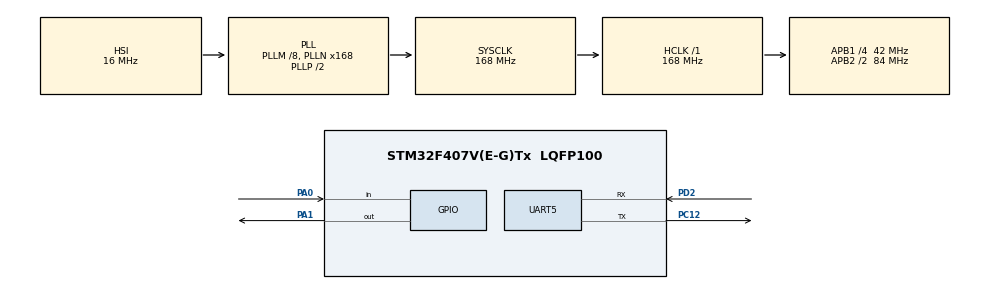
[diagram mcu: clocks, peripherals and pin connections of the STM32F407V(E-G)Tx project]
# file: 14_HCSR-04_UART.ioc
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Mcu.Family=STM32F4
Mcu.Name=STM32F407V(E-G)Tx
Mcu.Package=LQFP100
NVIC.PriorityGroup=NVIC_PRIORITYGROUP_4
PA0-WKUP.Signal=GPIO_Input
PA1.Signal=GPIO_Output
PA13.Mode=Serial_Wire
PA13.Signal=SYS_JTMS-SWDIO
PA14.Mode=Serial_Wire
PA14.Signal=SYS_JTCK-SWCLK
PC12.Mode=Asynchronous
PC12.Signal=UART5_TX
PD2.Mode=Asynchronous
PD2.Signal=UART5_RX
PH0-OSC_IN.Mode=HSE-External-Oscillator
PH0-OSC_IN.Signal=RCC_OSC_IN
PH1-OSC_OUT.Mode=HSE-External-Oscillator
PH1-OSC_OUT.Signal=RCC_OSC_OUT
ProjectManager.HeapSize=0x200
ProjectManager.StackSize=0x400
ProjectManager.TargetToolchain=STM32CubeIDE
RCC.48MHZClocksFreq_Value=84000000
RCC.AHBFreq_Value=168000000
RCC.APB1CLKDivider=RCC_HCLK_DIV4
RCC.APB1Freq_Value=42000000
RCC.APB1TimFreq_Value=84000000
RCC.APB2CLKDivider=RCC_HCLK_DIV2
RCC.APB2Freq_Value=84000000
RCC.APB2TimFreq_Value=168000000
RCC.CortexFreq_Value=168000000
RCC.HCLKFreq_Value=168000000
RCC.HSE_VALUE=25000000
RCC.HSI_VALUE=16000000
RCC.LSE_VALUE=32768
RCC.PLLM=8
RCC.PLLN=168
RCC.SYSCLKFreq_VALUE=168000000
RCC.SYSCLKSource=RCC_SYSCLKSOURCE_PLLCLK
RCC.VCOOutputFreq_Value=336000000
UART5.VirtualMode=Asynchronous
board=custom

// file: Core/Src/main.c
/* USER CODE BEGIN Header */
/**
  ******************************************************************************
  * @file           : main.c
  * @brief          : Main program body
  ******************************************************************************
  * @attention
  *
  * Copyright (c) 2024 STMicroelectronics.
  * All rights reserved.
  *
  * This software is licensed under terms that can be found in the LICENSE file
  * in the root directory of this software component.
  * If no LICENSE file comes with this software, it is provided AS-IS.
  *
  ******************************************************************************
  */
/* USER CODE END Header */
#include "main.h"

/* USER CODE BEGIN Includes */
#include<stdio.h>
#include<string.h>
#include "dwt_stm32_delay.h"
#include "string.h"

/* USER CODE END Includes */

UART_HandleTypeDef huart5;

/* USER CODE BEGIN PV */
uint32_t time;
uint8_t distance;
uint32_t flash_address = 0x08040000;
uint8_t readdata = 0;
/* USER CODE END PV */

void SystemClock_Config(void);
static void MX_GPIO_Init(void);
static void MX_UART5_Init(void);

/* USER CODE BEGIN 0 */
uint32_t Read_HCSR04()
{
	uint32_t local_time = 0;
	HAL_GPIO_WritePin(GPIOA, GPIO_PIN_1, GPIO_PIN_SET);
	DWT_Delay_us(10);
	HAL_GPIO_WritePin(GPIOA, GPIO_PIN_1, GPIO_PIN_RESET);	// pull the trig pin low

	while(!HAL_GPIO_ReadPin(GPIOA, GPIO_PIN_0));
	while(HAL_GPIO_ReadPin(GPIOA, GPIO_PIN_0))
	{
		local_time++;
		DWT_Delay_us(1);
	}
	return local_time;
}

void flash_write_read()
{
	 HAL_FLASH_Unlock();
	 FLASH_Erase_Sector(FLASH_SECTOR_6, FLASH_VOLTAGE_RANGE_3);
	 HAL_FLASH_Program(FLASH_TYPEPROGRAM_BYTE, flash_address, distance);
	 HAL_FLASH_Lock();
	 readdata = *(uint8_t *)(flash_address);
}
/* USER CODE END 0 */

int main(void)
{

  /* MCU Configuration--------------------------------------------------------*/

  /* Reset of all peripherals, Initializes the Flash interface and the Systick. */
  HAL_Init();

  /* Configure the system clock */
  SystemClock_Config();

  /* Initialize all configured peripherals */
  MX_GPIO_Init();
  MX_UART5_Init();
  /* USER CODE BEGIN 2 */
  DWT_Delay_Init();

  /* USER CODE END 2 */

  /* Infinite loop */
  while (1)
  {

    /* USER CODE BEGIN 3 */
	  time = Read_HCSR04();
	  distance = time * 0.034 / 2;
	  flash_write_read();
	  HAL_UART_Transmit(&huart5, &readdata, sizeof(readdata), HAL_MAX_DELAY);
  }
  /* USER CODE END 3 */
}

void SystemClock_Config(void)
{
  RCC_OscInitTypeDef RCC_OscInitStruct = {0};
  RCC_ClkInitTypeDef RCC_ClkInitStruct = {0};

  /** Configure the main internal regulator output voltage
  */
  __HAL_RCC_PWR_CLK_ENABLE();
  __HAL_PWR_VOLTAGESCALING_CONFIG(PWR_REGULATOR_VOLTAGE_SCALE1);

  /** Initializes the RCC Oscillators according to the specified parameters
  * in the RCC_OscInitTypeDef structure.
  */
  RCC_OscInitStruct.OscillatorType = RCC_OSCILLATORTYPE_HSI;
  RCC_OscInitStruct.HSIState = RCC_HSI_ON;
  RCC_OscInitStruct.HSICalibrationValue = RCC_HSICALIBRATION_DEFAULT;
  RCC_OscInitStruct.PLL.PLLState = RCC_PLL_ON;
  RCC_OscInitStruct.PLL.PLLSource = RCC_PLLSOURCE_HSI;
  RCC_OscInitStruct.PLL.PLLM = 8;
  RCC_OscInitStruct.PLL.PLLN = 168;
  RCC_OscInitStruct.PLL.PLLP = RCC_PLLP_DIV2;
  RCC_OscInitStruct.PLL.PLLQ = 4;
  if (HAL_RCC_OscConfig(&RCC_OscInitStruct) != HAL_OK)
  {
    Error_Handler();
  }

  /** Initializes the CPU, AHB and APB buses clocks
  */
  RCC_ClkInitStruct.ClockType = RCC_CLOCKTYPE_HCLK|RCC_CLOCKTYPE_SYSCLK
                              |RCC_CLOCKTYPE_PCLK1|RCC_CLOCKTYPE_PCLK2;
  RCC_ClkInitStruct.SYSCLKSource = RCC_SYSCLKSOURCE_PLLCLK;
  RCC_ClkInitStruct.AHBCLKDivider = RCC_SYSCLK_DIV1;
  RCC_ClkInitStruct.APB1CLKDivider = RCC_HCLK_DIV4;
  RCC_ClkInitStruct.APB2CLKDivider = RCC_HCLK_DIV2;

  if (HAL_RCC_ClockConfig(&RCC_ClkInitStruct, FLASH_LATENCY_5) != HAL_OK)
  {
    Error_Handler();
  }
}

static void MX_UART5_Init(void)
{

  huart5.Instance = UART5;
  huart5.Init.BaudRate = 115200;
  huart5.Init.WordLength = UART_WORDLENGTH_8B;
  huart5.Init.StopBits = UART_STOPBITS_1;
  huart5.Init.Parity = UART_PARITY_NONE;
  huart5.Init.Mode = UART_MODE_TX_RX;
  huart5.Init.HwFlowCtl = UART_HWCONTROL_NONE;
  huart5.Init.OverSampling = UART_OVERSAMPLING_16;
  if (HAL_UART_Init(&huart5) != HAL_OK)
  {
    Error_Handler();
  }

}

static void MX_GPIO_Init(void)
{
  GPIO_InitTypeDef GPIO_InitStruct = {0};

  /* GPIO Ports Clock Enable */
  __HAL_RCC_GPIOH_CLK_ENABLE();
  __HAL_RCC_GPIOA_CLK_ENABLE();
  __HAL_RCC_GPIOC_CLK_ENABLE();
  __HAL_RCC_GPIOD_CLK_ENABLE();

  /*Configure GPIO pin Output Level */
  HAL_GPIO_WritePin(GPIOA, GPIO_PIN_1, GPIO_PIN_RESET);

  /*Configure GPIO pin : PA0 */
  GPIO_InitStruct.Pin = GPIO_PIN_0;
  GPIO_InitStruct.Mode = GPIO_MODE_INPUT;
  GPIO_InitStruct.Pull = GPIO_NOPULL;
  HAL_GPIO_Init(GPIOA, &GPIO_InitStruct);

  /*Configure GPIO pin : PA1 */
  GPIO_InitStruct.Pin = GPIO_PIN_1;
  GPIO_InitStruct.Mode = GPIO_MODE_OUTPUT_PP;
  GPIO_InitStruct.Pull = GPIO_NOPULL;
  GPIO_InitStruct.Speed = GPIO_SPEED_FREQ_LOW;
  HAL_GPIO_Init(GPIOA, &GPIO_InitStruct);

}

void Error_Handler(void)
{
  __disable_irq();
  while (1)
  {
  }
}
